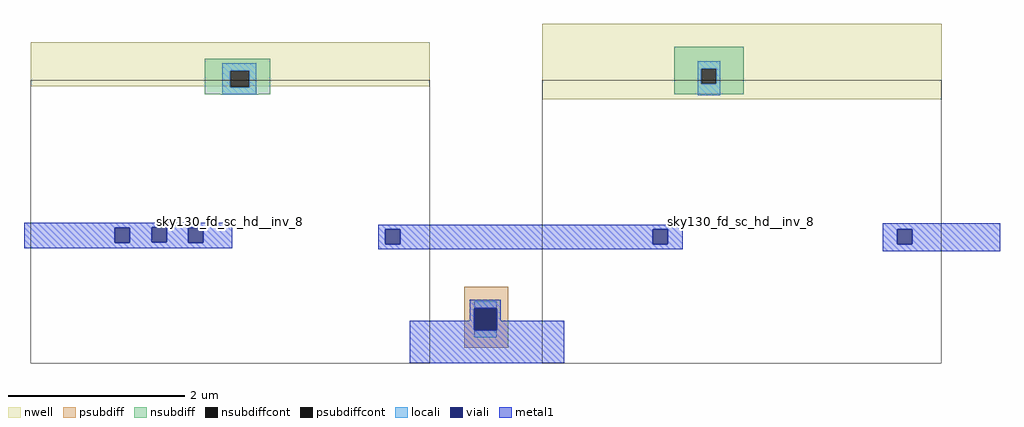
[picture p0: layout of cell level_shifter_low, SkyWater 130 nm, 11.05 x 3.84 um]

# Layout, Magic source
magic
tech sky130B
magscale 1 2
<< nwell >>
rect -56 581 848 680
rect 1102 551 2007 722
<< psubdiff >>
rect 926 78 1026 127
rect 926 28 949 78
rect 1000 28 1026 78
rect 926 -11 1026 28
<< nsubdiff >>
rect 338 616 487 643
rect 338 579 396 616
rect 439 579 487 616
rect 338 563 487 579
rect 1401 620 1559 670
rect 1401 586 1462 620
rect 1496 586 1559 620
rect 1401 563 1559 586
rect 374 562 459 563
<< psubdiffcont >>
rect 949 28 1000 78
<< nsubdiffcont >>
rect 396 579 439 616
rect 1462 586 1496 620
<< locali >>
rect 378 616 455 633
rect 378 579 396 616
rect 439 579 455 616
rect 378 563 455 579
rect 1455 620 1505 637
rect 1455 586 1462 620
rect 1496 586 1505 620
rect 1455 560 1505 586
rect 949 78 1000 94
rect 949 12 1000 28
<< viali >>
rect 134 227 168 261
rect 218 228 252 262
rect 301 227 335 261
rect 747 223 781 257
rect 1353 223 1387 257
rect 1906 223 1940 257
rect 949 28 1000 78
<< metal1 >>
rect -71 262 400 272
rect -71 261 218 262
rect -71 227 134 261
rect 168 228 218 261
rect 252 261 400 262
rect 252 228 301 261
rect 168 227 301 228
rect 335 227 400 261
rect -71 214 400 227
rect 731 257 1421 267
rect 731 223 747 257
rect 781 223 1353 257
rect 1387 223 1421 257
rect 731 212 1421 223
rect 1873 257 2139 271
rect 1873 223 1906 257
rect 1940 223 2139 257
rect 1873 207 2139 223
rect 938 78 1009 97
rect 938 50 949 78
rect 802 28 949 50
rect 1000 50 1009 78
rect 1000 28 1152 50
rect 802 -46 1152 28
use sky130_fd_sc_hd__inv_8  sky130_fd_sc_hd__inv_8_0 dependencies/pdks/sky130B/libs.ref/sky130_fd_sc_hd/mag
transform 1 0 -18 0 1 2
box -38 -48 866 592
use sky130_fd_sc_hd__inv_8  sky130_fd_sc_hd__inv_8_1
transform 1 0 1140 0 1 2
box -38 -48 866 592
<< end >>
